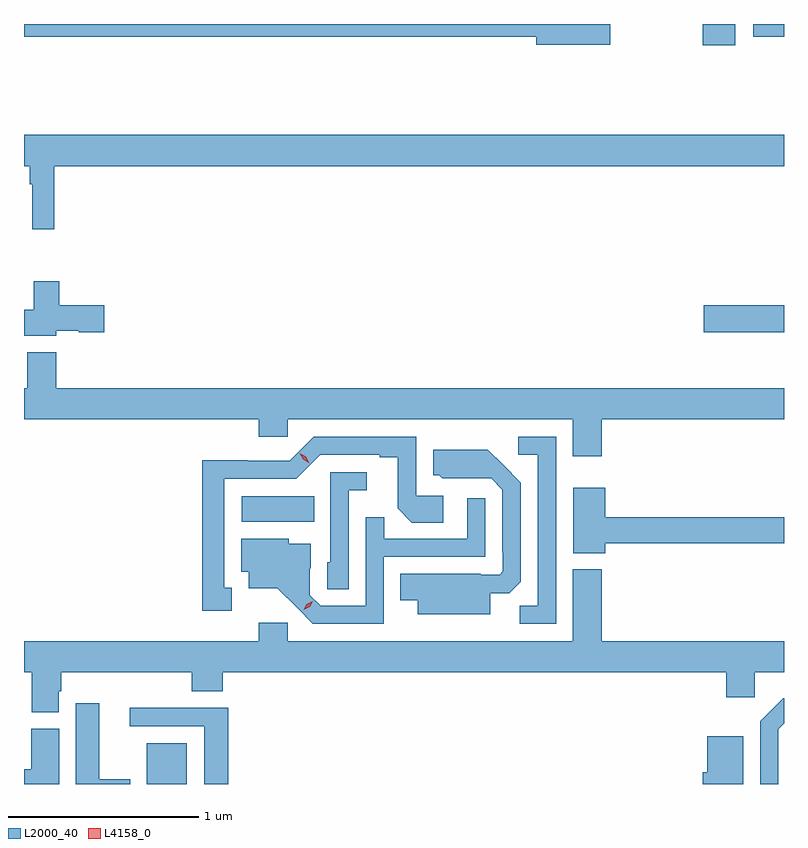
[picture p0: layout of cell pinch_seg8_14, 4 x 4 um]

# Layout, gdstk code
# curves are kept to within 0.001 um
import gdstk
lib = gdstk.Library(unit=1e-6, precision=1e-09)
def R(c, l, rs):  # rectangles x0, y0, x1, y1
    for r in rs: c.add(gdstk.rectangle(r[:2], r[2:], *l))
def P(c, l, *ps):  # polygons
    for p in ps: c.add(gdstk.Polygon(p, *l))
L2000_40 = (2000, 40)
L4158_0 = (4158, 0)

pinch_seg8_14 = lib.new_cell('pinch_seg8_14')
R(pinch_seg8_14, L2000_40, [(1034.198,1123.904,1034.41,1124.119), (1034.7,1125.284,1035.08,1125.418), (1037.13,1126.282,1037.553,1126.424), (1037.126,1127.793,1037.296,1127.904), (1037.391,1127.836,1037.553,1127.904)])
P(pinch_seg8_14, L2000_40, [(1036.639,1127.904),(1033.553,1127.904),(1033.553,1127.836),(1036.25,1127.836),(1036.25,1127.794),(1036.639,1127.794)],
  [(1033.712,1127.156),(1037.553,1127.156),(1037.553,1127.32),(1033.553,1127.32),(1033.553,1127.156),(1033.584,1127.156),(1033.584,1127.06),(1033.596,1127.06),(1033.596,1126.824),(1033.712,1126.824)],
  [(1033.722,1126.289),(1033.842,1126.289),(1033.842,1126.282),(1033.975,1126.282),(1033.975,1126.424),(1033.739,1126.424),(1033.739,1126.549),(1033.604,1126.549),(1033.604,1126.4),(1033.553,1126.4),(1033.553,1126.262),(1033.722,1126.262)],
  [(1036.595,1125.824),(1037.553,1125.824),(1037.553,1125.988),(1033.724,1125.988),(1033.724,1126.177),(1033.571,1126.177),(1033.571,1125.988),(1033.553,1125.988),(1033.553,1125.824),(1034.789,1125.824),(1034.789,1125.731),(1034.94,1125.731),(1034.94,1125.824),(1036.442,1125.824),(1036.442,1125.63),(1036.595,1125.63)],
  [(1036.353,1125.732),(1036.155,1125.732),(1036.155,1125.636),(1036.257,1125.636),(1036.257,1124.843),(1036.162,1124.843),(1036.162,1124.748),(1036.353,1124.748)],
  [(1034.647,1124.937),(1034.608,1124.937),(1034.608,1125.51),(1034.985,1125.51),(1035.111,1125.636),(1035.425,1125.636),(1035.425,1125.624),(1035.519,1125.624),(1035.519,1125.356),(1035.595,1125.28),(1035.76,1125.28),(1035.76,1125.42),(1035.618,1125.42),(1035.618,1125.732),(1035.078,1125.732),(1034.952,1125.606),(1034.73,1125.606),(1034.73,1125.608),(1034.49,1125.608),(1034.49,1124.817),(1034.647,1124.817)],
  [(1036.006,1124.909),(1036.108,1124.909),(1036.167,1124.968),(1036.167,1125.49),(1035.995,1125.664),(1035.707,1125.664),(1035.707,1125.528),(1035.738,1125.528),(1035.754,1125.512),(1036.011,1125.513),(1036.071,1125.453),(1036.071,1125.124),(1036.074,1125.124),(1036.074,1125.024),(1036.056,1125.006),(1035.956,1125.006),(1035.956,1125.01),(1035.532,1125.01),(1035.532,1124.87),(1035.626,1124.87),(1035.626,1124.798),(1036.006,1124.798)],
  [(1035.261,1125.449),(1035.358,1125.449),(1035.358,1125.546),(1035.165,1125.546),(1035.165,1125.072),(1035.15,1125.072),(1035.15,1124.929),(1035.261,1124.929)],
  [(1036.612,1125.172),(1037.553,1125.172),(1037.553,1125.308),(1036.612,1125.308),(1036.612,1125.463),(1036.445,1125.463),(1036.445,1125.119),(1036.612,1125.119)],
  [(1035.447,1125.099),(1035.981,1125.099),(1035.981,1125.409),(1035.885,1125.409),(1035.885,1125.195),(1035.449,1125.195),(1035.449,1125.308),(1035.351,1125.308),(1035.351,1124.841),(1035.114,1124.841),(1035.057,1124.898),(1035.057,1125.04),(1035.061,1125.04),(1035.061,1125.169),(1034.946,1125.169),(1034.946,1125.196),(1034.696,1125.196),(1034.696,1125.02),(1034.735,1125.02),(1034.735,1124.933),(1034.887,1124.933),(1035.074,1124.748),(1035.447,1124.748)],
  [(1037.249,1124.361),(1037.4,1124.361),(1037.4,1124.492),(1037.553,1124.492),(1037.553,1124.656),(1036.595,1124.656),(1036.595,1125.034),(1036.442,1125.034),(1036.442,1124.656),(1034.94,1124.656),(1034.94,1124.752),(1034.789,1124.752),(1034.789,1124.656),(1033.553,1124.656),(1033.553,1124.492),(1033.595,1124.492),(1033.595,1124.281),(1033.735,1124.281),(1033.735,1124.391),(1033.748,1124.391),(1033.748,1124.492),(1034.435,1124.492),(1034.435,1124.393),(1034.6,1124.393),(1034.6,1124.492),(1037.249,1124.492)],
  [(1037.523,1124.193),(1037.553,1124.223),(1037.553,1124.356),(1037.548,1124.356),(1037.427,1124.235),(1037.427,1123.904),(1037.523,1123.904)],
  [(1034.113,1123.93),(1033.948,1123.93),(1033.948,1124.329),(1033.826,1124.329),(1033.826,1123.904),(1034.113,1123.904)],
  [(1034.627,1124.306),(1034.109,1124.306),(1034.109,1124.208),(1034.501,1124.208),(1034.501,1123.904),(1034.627,1123.904)],
  [(1033.738,1124.196),(1033.592,1124.196),(1033.592,1123.982),(1033.553,1123.982),(1033.553,1123.904),(1033.738,1123.904)],
  [(1037.338,1124.155),(1037.15,1124.155),(1037.15,1123.965),(1037.126,1123.965),(1037.126,1123.904),(1037.338,1123.904)])
P(pinch_seg8_14, L4158_0, [(1035.025,1124.82),(1035.025,1124.821),(1035.042,1124.85),(1035.073,1124.865),(1035.073,1124.865),(1035.073,1124.865),(1035.056,1124.836),(1035.025,1124.82)],
  [(1035.054,1125.593),(1035.022,1125.612),(1035.005,1125.644),(1035.005,1125.645),(1035.005,1125.645),(1035.037,1125.626),(1035.054,1125.593),(1035.054,1125.593)])

lib.write_gds('pinch_seg8_14.gds')
